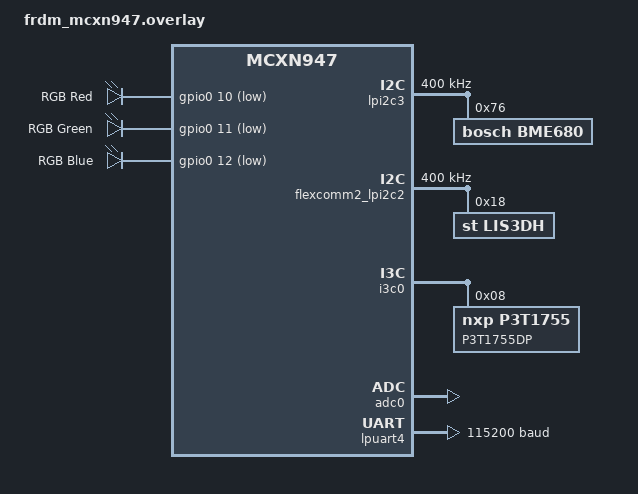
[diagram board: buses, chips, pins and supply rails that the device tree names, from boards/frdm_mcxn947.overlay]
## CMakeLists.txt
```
cmake_minimum_required(VERSION 3.20.0)

find_package(Zephyr REQUIRED HINTS $ENV{ZEPHYR_BASE})
project(frdm_env_monitor VERSION 1.0.0)

# ── Fuentes principales ────────────────────────────────────────────────────────
target_sources(app PRIVATE
    src/main.c
    src/task_bme680.c
    src/task_lis3dh.c
    src/task_p3t1755.c
    src/task_reporter.c
    src/task_alert.c
    src/task_touch.c
    src/sensor_data.c
)

# ── Includes ──────────────────────────────────────────────────────────────────
target_include_directories(app PRIVATE include)
```

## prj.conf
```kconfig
# =============================================================================
#  frdm_env_monitor — prj.conf
#  NXP FRDM-MCXN947  |  Zephyr RTOS 4.4.x
# =============================================================================

# ── Kernel ────────────────────────────────────────────────────────────────────
CONFIG_MAIN_STACK_SIZE=2048
CONFIG_SYSTEM_WORKQUEUE_STACK_SIZE=2048
CONFIG_HEAP_MEM_POOL_SIZE=8192

# ── Multithreading ────────────────────────────────────────────────────────────
CONFIG_MULTITHREADING=y

# ── Logging / consola UART ────────────────────────────────────────────────────
CONFIG_LOG=y
CONFIG_LOG_DEFAULT_LEVEL=3
CONFIG_UART_CONSOLE=y
CONFIG_SERIAL=y
CONFIG_PRINTK=y
CONFIG_CBPRINTF_FP_SUPPORT=y

# ── I2C (BME680 en FC3, LIS3DH en FC2) ───────────────────────────────────────
CONFIG_I2C=y

# ── I3C (P3T1755DP embebido) ──────────────────────────────────────────────────
CONFIG_I3C=y

# ── Drivers de sensor ─────────────────────────────────────────────────────────
CONFIG_SENSOR=y
CONFIG_BME680=y
# LIS3DH usa el driver genérico ST LIS2DH (cubre toda la familia)
CONFIG_LIS2DH=y

# ── GPIO (LED RGB) ────────────────────────────────────────────────────────────
CONFIG_GPIO=y

# ── Input / Touch slider (TSI0) ───────────────────────────────────────────────
CONFIG_INPUT=y
```

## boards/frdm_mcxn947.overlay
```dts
/*
 * frdm_mcxn947.overlay
 * Configuración de hardware para el proyecto frdm_env_monitor
 * Board: NXP FRDM-MCXN947
 */

/ {
    chosen {
        zephyr,console    = &lpuart4;
        zephyr,shell-uart = &lpuart4;
    };

    /*
     * Aliases para que el código C acceda a los periféricos
     * con nombres independientes del hardware concreto.
     */
    aliases {
        led-red   = &rgb_red;
        led-green = &rgb_green;
        led-blue  = &rgb_blue;
        accel     = &lis3dh;
        env-sensor= &bme680;
        ref-temp  = &p3t1755;
        touch-adc = &adc0;
    };

    /* ── RGB LED ─────────────────────────────────────────────────────────── */
    leds {
        compatible = "gpio-leds";

        rgb_red: led_red {
            gpios = <&gpio0 10 GPIO_ACTIVE_LOW>;
            label = "RGB Red";
        };
        rgb_green: led_green {
            gpios = <&gpio0 11 GPIO_ACTIVE_LOW>;
            label = "RGB Green";
        };
        rgb_blue: led_blue {
            gpios = <&gpio0 12 GPIO_ACTIVE_LOW>;
            label = "RGB Blue";
        };
    };
};

/* ── I2C3 — BME680 ────────────────────────────────────────────────────────── */
&lpi2c3 {
    status = "okay";
    clock-frequency = <I2C_BITRATE_FAST>;   /* 400 kHz */

    bme680: bme680@76 {
        compatible = "bosch,bme680";
        reg = <0x76>;                        /* SDO = GND → 0x76 */
        label = "BME680";
    };
};

/* ── Pinmux para Flexcomm2 como I2C (P4_0 = SDA, P4_1 = SCL) ────────────
 *
 * El MCXN947 tiene un sistema de pinmux: cada pin físico puede cumplir
 * varias funciones (GPIO, I2C, SPI, UART...). Aquí le decimos que P4_0
 * y P4_1 deben actuar como SDA/SCL del Flexcomm2.
 *
 * bias-pull-up      → resistencias pull-up internas (necesarias en I2C)
 * drive-open-drain  → I2C requiere salida open-drain por protocolo
 * input-enable      → el pin también recibe datos (bidireccional)
 * slew-rate = fast  → transiciones rápidas para 400 kHz
 */
&pinctrl {
    pinmux_flexcomm2_lpi2c: pinmux_flexcomm2_lpi2c {
        group0 {
            pinmux = <FC2_P0_PIO4_0>,   /* SDA → P4_0 */
                     <FC2_P1_PIO4_1>;   /* SCL → P4_1 */
            slew-rate = "fast";
            drive-strength = "low";
            input-enable;
            bias-pull-up;
            drive-open-drain;
        };
    };
};

/* ── I2C2 (Flexcomm2) — LIS3DH ───────────────────────────────────────────
 *
 * flexcomm2_lpi2c2 es el nombre del nodo I2C en el devicetree base de
 * Zephyr para la FRDM-MCXN947. Cada Flexcomm puede ser I2C, SPI o UART
 * — aquí lo configuramos como I2C.
 *
 * El LIS3DH en modo I2C tiene dirección 0x18 cuando SDO está en GND.
 * CS debe estar en VCC para habilitar el modo I2C (ver conexionado).
 */
&flexcomm2_lpi2c2 {
    status = "okay";
    pinctrl-0 = <&pinmux_flexcomm2_lpi2c>;
    pinctrl-names = "default";
    clock-frequency = <I2C_BITRATE_FAST>;   /* 400 kHz */

    lis3dh: lis3dh@18 {
        compatible = "st,lis3dh";
        reg = <0x18>;                        /* SDO = GND → 0x18 */
        label = "LIS3DH";
    };
};

/* ── I3C0 — P3T1755DP (sensor embebido en la tarjeta) ───────────────────── */
&i3c0 {
    status = "okay";
    /* Dirección I3C dinámica asignada durante DAA */
    p3t1755: p3t1755@08 {
        compatible = "nxp,p3t1755";
        reg = <0x08 0x00 0x00>;
        label = "P3T1755DP";
    };
};

/* ── ADC0 — Touch slider (lectura capacitiva) ────────────────────────────── */
&adc0 {
    status = "okay";
    #io-channel-cells = <1>;
};

/* ── LPUART4 — Consola / reporte de datos ───────────────────────────────── */
&lpuart4 {
    status = "okay";
    current-speed = <115200>;
};
```

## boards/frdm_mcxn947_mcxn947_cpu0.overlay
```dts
/*
 * frdm_mcxn947.overlay
 * Configuración de hardware para frdm_env_monitor
 * Board: NXP FRDM-MCXN947  |  Zephyr 4.4.x
 *
 * Basado en el DTS base real de la tarjeta (frdm_mcxn947.dtsi):
 *  - LEDs: gpio-leds, nodos red_led/green_led/blue_led, status disabled por defecto
 *  - Flexcomm2: pinmux ya definido como pinmux_flexcomm2_lpi2c
 *  - Flexcomm3: pinmux ya definido como pinmux_flexcomm3_lpi2c
 *  - Touch slider: tsi0 (no ADC)
 *  - ADC: lpadc0
 */

/* ── Habilitar LEDs RGB (están disabled en el DTS base) ─────────────────── */
&red_led {
    status = "okay";
};

&green_led {
    status = "okay";
};

&blue_led {
    status = "okay";
};

/* ── I2C3 (Flexcomm3) — BME680 ───────────────────────────────────────────
 * Pinmux ya definido en DTS base (pinmux_flexcomm3_lpi2c).
 * Pines: P3_2=SCL, P3_3=SDA (header Arduino A5/A4).
 * SDO del BME680 a GND → dirección 0x76.
 */
&flexcomm3_lpi2c3 {
    status = "okay";
    clock-frequency = <I2C_BITRATE_FAST>;

    bme680: bme680@77 {
        compatible = "bosch,bme680";
        reg = <0x77>;
    };
};

/* ── I2C2 (Flexcomm2) — LIS3DH ──────────────────────────────────────────
 * Pinmux ya definido en DTS base (pinmux_flexcomm2_lpi2c).
 * Pines: P4_0=SDA, P4_1=SCL.
 * SDO del LIS3DH a GND → dirección 0x18.
 * CS del LIS3DH a VCC  → fuerza modo I2C (obligatorio).
 */
&flexcomm2_lpi2c2 {
    status = "okay";
    clock-frequency = <I2C_BITRATE_FAST>;

    lis3dh: lis3dh@18 {
        compatible = "st,lis2dh";
        reg = <0x18>;
    };
};

/* ── I3C1 — P3T1755DP (sensor de temperatura embebido en la tarjeta) ─────
 * La tarjeta usa i3c1 con pinmux_i3c1 ya definido en el DTS base.
 */
&i3c1 {
    status = "okay";

    p3t1755: p3t1755@8 {
        compatible = "nxp,p3t1755";
        reg = <0x8 0x0 0x0>;
    };
};

/* ── TSI0 — Touch slider ─────────────────────────────────────────────────
 * El touch slider usa el periférico TSI (Touch Sensing Input).
 * Ya está configurado en el DTS base con pinmux_tsi.
 * Solo lo habilitamos.
 */
&tsi0 {
    status = "okay";
};

/* ── LPUART4 — Consola (ya configurada en DTS base) ─────────────────────
 * El DTS base cpu0 ya apunta la consola a flexcomm4_lpuart4.
 */
&flexcomm4_lpuart4 {
    status = "okay";
    current-speed = <115200>;
};
```

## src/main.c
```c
/*
 * main.c
 * Punto de entrada. Inicializa periféricos y arranca las 6 tareas.
 * El sistema continúa aunque algún sensor no esté disponible.
 *
 * Proyecto : frdm_env_monitor
 * Board    : NXP FRDM-MCXN947
 * RTOS     : Zephyr
 */

#include <zephyr/kernel.h>
#include <zephyr/device.h>
#include <zephyr/drivers/sensor.h>
#include <zephyr/logging/log.h>

#include "sensor_data.h"

LOG_MODULE_REGISTER(main, LOG_LEVEL_INF);

extern void task_bme680_entry(void *p1, void *p2, void *p3);
extern void task_lis3dh_entry(void *p1, void *p2, void *p3);
extern void task_p3t1755_entry(void *p1, void *p2, void *p3);
extern void task_reporter_entry(void *p1, void *p2, void *p3);
extern void task_alert_entry(void *p1, void *p2, void *p3);
extern void task_touch_entry(void *p1, void *p2, void *p3);

K_THREAD_STACK_DEFINE(stack_bme680,   STACK_BME680);
K_THREAD_STACK_DEFINE(stack_lis3dh,   STACK_LIS3DH);
K_THREAD_STACK_DEFINE(stack_p3t1755,  STACK_P3T1755);
K_THREAD_STACK_DEFINE(stack_reporter, STACK_REPORTER);
K_THREAD_STACK_DEFINE(stack_alert,    STACK_ALERT);
K_THREAD_STACK_DEFINE(stack_touch,    STACK_TOUCH);

static struct k_thread tcb_bme680;
static struct k_thread tcb_lis3dh;
static struct k_thread tcb_p3t1755;
static struct k_thread tcb_reporter;
static struct k_thread tcb_alert;
static struct k_thread tcb_touch;

#define NODE_BME680   DT_NODELABEL(bme680)
#define NODE_LIS3DH   DT_NODELABEL(lis3dh)
#define NODE_P3T1755  DT_NODELABEL(p3t1755)

static bool device_check(const struct device *dev, const char *name)
{
    if (!device_is_ready(dev)) {
        LOG_WRN("No disponible: %s", name);
        return false;
    }
    LOG_INF("OK: %s", name);
    return true;
}

int main(void)
{
    LOG_INF("=================================================");
    LOG_INF(" FRDM-MCXN947  Environmental & Motion Monitor  ");
    LOG_INF(" Zephyr RTOS  |  Grupo Intelecto                ");
    LOG_INF("=================================================");

    const struct device *bme680  = DEVICE_DT_GET(NODE_BME680);
    const struct device *lis3dh  = DEVICE_DT_GET(NODE_LIS3DH);
    const struct device *p3t1755 = DEVICE_DT_GET(NODE_P3T1755);

    bool bme_ok = device_check(bme680,  "BME680 (I2C)");
    bool lis_ok = device_check(lis3dh,  "LIS3DH (I2C)");
    bool p3t_ok = device_check(p3t1755, "P3T1755DP (I3C)");

    if (!bme_ok && !lis_ok && !p3t_ok) {
        LOG_ERR("Sin sensores disponibles — sistema detenido.");
        return -1;
    }

    LOG_INF("Iniciando tareas...");

    /* Tarea BME680 — solo si el sensor está disponible */
    if (bme_ok) {
        k_thread_create(&tcb_bme680, stack_bme680,
                        K_THREAD_STACK_SIZEOF(stack_bme680),
                        task_bme680_entry,
                        (void *)bme680, NULL, NULL,
                        PRIO_BME680, 0, K_NO_WAIT);
        k_thread_name_set(&tcb_bme680, "bme680");
    }

    /* Tarea LIS3DH — solo si el sensor está disponible */
    if (lis_ok) {
        k_thread_create(&tcb_lis3dh, stack_lis3dh,
                        K_THREAD_STACK_SIZEOF(stack_lis3dh),
                        task_lis3dh_entry,
                        (void *)lis3dh, NULL, NULL,
                        PRIO_LIS3DH, 0, K_NO_WAIT);
        k_thread_name_set(&tcb_lis3dh, "lis3dh");
    }

    /* Tarea P3T1755 — solo si el sensor está disponible */
    if (p3t_ok) {
        k_thread_create(&tcb_p3t1755, stack_p3t1755,
                        K_THREAD_STACK_SIZEOF(stack_p3t1755),
                        task_p3t1755_entry,
                        (void *)p3t1755, NULL, NULL,
                        PRIO_P3T1755, 0, K_NO_WAIT);
        k_thread_name_set(&tcb_p3t1755, "p3t1755");
    }

    /* Estas tareas siempre corren */
    k_thread_create(&tcb_reporter, stack_reporter,
                    K_THREAD_STACK_SIZEOF(stack_reporter),
                    task_reporter_entry,
                    NULL, NULL, NULL,
                    PRIO_REPORTER, 0, K_NO_WAIT);
    k_thread_name_set(&tcb_reporter, "reporter");

    k_thread_create(&tcb_alert, stack_alert,
                    K_THREAD_STACK_SIZEOF(stack_alert),
                    task_alert_entry,
                    NULL, NULL, NULL,
                    PRIO_ALERT, 0, K_NO_WAIT);
    k_thread_name_set(&tcb_alert, "alert");

    k_thread_create(&tcb_touch, stack_touch,
                    K_THREAD_STACK_SIZEOF(stack_touch),
                    task_touch_entry,
                    NULL, NULL, NULL,
                    PRIO_TOUCH, 0, K_NO_WAIT);
    k_thread_name_set(&tcb_touch, "touch");

    LOG_INF("Tareas iniciadas. Sistema corriendo.");
    return 0;
}
```

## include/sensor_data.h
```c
/*
 * sensor_data.h
 * Tipos de datos compartidos entre tareas y colas de mensajes.
 *
 * Proyecto : frdm_env_monitor
 * Board    : NXP FRDM-MCXN947
 * RTOS     : Zephyr
 */

#ifndef SENSOR_DATA_H
#define SENSOR_DATA_H

#include <zephyr/kernel.h>
#include <stdint.h>
#include <stdbool.h>

/* ── Constantes de configuración ─────────────────────────────────────────── */

/* Períodos de muestreo de cada tarea (ms) */
#define BME680_PERIOD_MS       2000U
#define LIS3DH_PERIOD_MS        100U   /* 10 Hz */
#define P3T1755_PERIOD_MS      1000U
#define REPORTER_PERIOD_MS     2000U
#define ALERT_PERIOD_MS         500U
#define TOUCH_PERIOD_MS         200U

/* Tamaños de stack por tarea */
#define STACK_BME680           1536U
#define STACK_LIS3DH           1024U
#define STACK_P3T1755          1024U
#define STACK_REPORTER         2048U
#define STACK_ALERT            1024U
#define STACK_TOUCH             768U

/* Prioridades (menor número = mayor prioridad en Zephyr) */
#define PRIO_BME680               5
#define PRIO_LIS3DH               4   /* mayor prioridad: 10 Hz */
#define PRIO_P3T1755              6
#define PRIO_REPORTER             7
#define PRIO_ALERT                3   /* mayor prioridad: seguridad */
#define PRIO_TOUCH                8

/* Profundidad de las colas de mensajes */
#define QUEUE_DEPTH               4

/* ── Umbrales de alerta ───────────────────────────────────────────────────── */
#define ALERT_TEMP_HIGH_C      40.0f   /* °C  */
#define ALERT_TEMP_LOW_C        5.0f   /* °C  */
#define ALERT_HUMIDITY_HIGH    85.0f   /* %RH */
#define ALERT_IAQ_BAD         200.0f   /* IAQ index */
#define ALERT_ACCEL_G          2.0f    /* g   */

/* ── Modos de visualización (touch slider) ───────────────────────────────── */
typedef enum {
    DISPLAY_MODE_TEMP = 0,   /* Muestra temperatura  */
    DISPLAY_MODE_HUMIDITY,   /* Muestra humedad      */
    DISPLAY_MODE_PRESSURE,   /* Muestra presión      */
    DISPLAY_MODE_ACCEL,      /* Muestra aceleración  */
    DISPLAY_MODE_IAQ,        /* Muestra calidad aire */
    DISPLAY_MODE_COUNT
} display_mode_t;

/* ── Datos del BME680 ─────────────────────────────────────────────────────── */
typedef struct {
    float    temperature;   /* °C        */
    float    humidity;      /* %RH       */
    float    pressure;      /* hPa       */
    float    iaq;           /* IAQ index */
    uint32_t timestamp_ms;
    bool     valid;
} bme680_data_t;

/* ── Datos del LIS3DH ─────────────────────────────────────────────────────── */
typedef struct {
    float    accel_x;       /* g */
    float    accel_y;       /* g */
    float    accel_z;       /* g */
    float    magnitude;     /* g */
    uint32_t timestamp_ms;
    bool     valid;
} lis3dh_data_t;

/* ── Datos del P3T1755DP ──────────────────────────────────────────────────── */
typedef struct {
    float    temperature;   /* °C */
    uint32_t timestamp_ms;
    bool     valid;
} p3t1755_data_t;

/* ── Estado de alertas ────────────────────────────────────────────────────── */
typedef struct {
    bool temp_high;
    bool temp_low;
    bool humidity_high;
    bool iaq_bad;
    bool motion_detected;
    bool any_active;
} alert_status_t;

/* ── Payload del reporter (mensaje en cola) ──────────────────────────────── */
typedef struct {
    bme680_data_t  env;
    lis3dh_data_t  motion;
    p3t1755_data_t ref_temp;
    alert_status_t alerts;
    display_mode_t mode;
} report_payload_t;

/* ── Variables globales compartidas (definidas en sensor_data.c) ─────────── */
extern struct k_mutex      g_data_mutex;
extern bme680_data_t       g_bme680;
extern lis3dh_data_t       g_lis3dh;
extern p3t1755_data_t      g_p3t1755;
extern alert_status_t      g_alerts;
extern display_mode_t      g_display_mode;

/* Cola hacia la tarea reporter */
extern struct k_msgq       g_report_queue;

/* Semáforo: notifica a alert task cuando hay nuevos datos */
extern struct k_sem        g_data_ready_sem;

#endif /* SENSOR_DATA_H */
```

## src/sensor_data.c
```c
/*
 * sensor_data.c
 * Definición de variables globales, mutex, colas y semáforos compartidos
 * entre todas las tareas del sistema.
 *
 * Proyecto : frdm_env_monitor
 * Board    : NXP FRDM-MCXN947
 * RTOS     : Zephyr
 */

#include "sensor_data.h"
#include <zephyr/kernel.h>
#include <string.h>

/* ── Mutex de acceso a datos compartidos ─────────────────────────────────── */
K_MUTEX_DEFINE(g_data_mutex);

/* ── Estado global de cada sensor ────────────────────────────────────────── */
bme680_data_t  g_bme680   = { .valid = false };
lis3dh_data_t  g_lis3dh   = { .valid = false };
p3t1755_data_t g_p3t1755  = { .valid = false };

/* ── Estado global de alertas y modo de display ──────────────────────────── */
alert_status_t g_alerts       = { 0 };
display_mode_t g_display_mode = DISPLAY_MODE_TEMP;

/* ── Cola de mensajes hacia el reporter ─────────────────────────────────── */
K_MSGQ_DEFINE(g_report_queue, sizeof(report_payload_t), QUEUE_DEPTH, 4);

/* ── Semáforo: señaliza que hay datos nuevos listos para evaluar alertas ─── */
K_SEM_DEFINE(g_data_ready_sem, 0, 1);
```

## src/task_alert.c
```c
/*
 * task_alert.c
 * Tarea de evaluación de alertas y control del LED RGB.
 *
 * Los LEDs en la FRDM-MCXN947 son GPIO activo bajo (GPIO_ACTIVE_LOW):
 *   gpio_pin_set_dt(&led, 1) → LED encendido
 *   gpio_pin_set_dt(&led, 0) → LED apagado
 *
 * Nodos del DTS base: red_led (gpio0.10), green_led (gpio0.27), blue_led (gpio1.2)
 *
 * Colores de alerta:
 *   Verde        — nominal
 *   Amarillo R+G — IAQ malo o humedad alta
 *   Rojo         — temperatura fuera de rango
 *   Azul blink   — movimiento/vibración
 *   Magenta R+B  — múltiples alertas
 *
 * Proyecto : frdm_env_monitor
 * Board    : NXP FRDM-MCXN947
 * RTOS     : Zephyr
 */

#include <zephyr/kernel.h>
#include <zephyr/device.h>
#include <zephyr/drivers/gpio.h>
#include <zephyr/logging/log.h>

#include "sensor_data.h"

LOG_MODULE_REGISTER(task_alert, LOG_LEVEL_INF);

/* ── Nodos GPIO del LED RGB ──────────────────────────────────────────────
 * DT_NODELABEL(red_led) apunta al nodo red_led definido en frdm_mcxn947.dtsi
 */
static const struct gpio_dt_spec led_r =
    GPIO_DT_SPEC_GET(DT_NODELABEL(red_led),   gpios);
static const struct gpio_dt_spec led_g =
    GPIO_DT_SPEC_GET(DT_NODELABEL(green_led), gpios);
static const struct gpio_dt_spec led_b =
    GPIO_DT_SPEC_GET(DT_NODELABEL(blue_led),  gpios);

typedef enum {
    LED_GREEN = 0,
    LED_YELLOW,
    LED_RED,
    LED_BLUE_BLINK,
    LED_MAGENTA,
} led_state_t;

static void led_set(led_state_t state, bool blink_phase)
{
    int r = 0, g = 0, b = 0;

    switch (state) {
    case LED_GREEN:       g = 1; break;
    case LED_YELLOW:      r = 1; g = 1; break;
    case LED_RED:         r = 1; break;
    case LED_BLUE_BLINK:  b = blink_phase ? 1 : 0; break;
    case LED_MAGENTA:     r = 1; b = 1; break;
    }

    gpio_pin_set_dt(&led_r, r);
    gpio_pin_set_dt(&led_g, g);
    gpio_pin_set_dt(&led_b, b);
}

static int led_init(void)
{
    if (!gpio_is_ready_dt(&led_r) ||
        !gpio_is_ready_dt(&led_g) ||
        !gpio_is_ready_dt(&led_b)) {
        LOG_ERR("GPIO LED no listo");
        return -ENODEV;
    }
    gpio_pin_configure_dt(&led_r, GPIO_OUTPUT_INACTIVE);
    gpio_pin_configure_dt(&led_g, GPIO_OUTPUT_INACTIVE);
    gpio_pin_configure_dt(&led_b, GPIO_OUTPUT_INACTIVE);
    return 0;
}

static alert_status_t evaluate_alerts(const bme680_data_t *env,
                                      const lis3dh_data_t *mot)
{
    alert_status_t alr = { 0 };

    if (env->valid) {
        alr.temp_high     = (env->temperature > ALERT_TEMP_HIGH_C);
        alr.temp_low      = (env->temperature < ALERT_TEMP_LOW_C);
        alr.humidity_high = (env->humidity    > ALERT_HUMIDITY_HIGH);
        alr.iaq_bad       = (env->iaq         > ALERT_IAQ_BAD);
    }
    if (mot->valid) {
        alr.motion_detected = (mot->magnitude > ALERT_ACCEL_G + 1.0f);
    }
    alr.any_active = alr.temp_high || alr.temp_low || alr.humidity_high ||
                     alr.iaq_bad   || alr.motion_detected;
    return alr;
}

static led_state_t select_led_state(const alert_status_t *alr)
{
    if (!alr->any_active)                                          return LED_GREEN;
    if (alr->motion_detected && !alr->temp_high && !alr->temp_low) return LED_BLUE_BLINK;
    if (alr->temp_high || alr->temp_low) {
        if (alr->iaq_bad || alr->motion_detected)                  return LED_MAGENTA;
        return LED_RED;
    }
    if (alr->iaq_bad || alr->humidity_high)                        return LED_YELLOW;
    return LED_GREEN;
}

void task_alert_entry(void *p1, void *p2, void *p3)
{
    ARG_UNUSED(p1); ARG_UNUSED(p2); ARG_UNUSED(p3);

    if (led_init() != 0) {
        LOG_ERR("Fallo al inicializar LED RGB.");
        return;
    }

    LOG_INF("Tarea Alertas iniciada. Período: %u ms", ALERT_PERIOD_MS);

    bme680_data_t env;
    lis3dh_data_t mot;
    bool blink_phase = false;

    while (1) {
        k_sem_take(&g_data_ready_sem, K_MSEC(ALERT_PERIOD_MS));

        k_mutex_lock(&g_data_mutex, K_FOREVER);
        env = g_bme680;
        mot = g_lis3dh;
        k_mutex_unlock(&g_data_mutex);

        alert_status_t alr = evaluate_alerts(&env, &mot);

        k_mutex_lock(&g_data_mutex, K_FOREVER);
        g_alerts = alr;
        k_mutex_unlock(&g_data_mutex);

        blink_phase = !blink_phase;
        led_set(select_led_state(&alr), blink_phase);

        if (alr.any_active) {
            LOG_WRN("ALERTA: %s%s%s%s%s",
                alr.temp_high       ? "TEMP_ALTA "  : "",
                alr.temp_low        ? "TEMP_BAJA "  : "",
                alr.humidity_high   ? "HUMEDAD "    : "",
                alr.iaq_bad         ? "AIRE_MALO "  : "",
                alr.motion_detected ? "MOVIMIENTO " : "");
        }
    }
}
```

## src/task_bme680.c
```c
/*
 * task_bme680.c
 * Tarea de adquisición del sensor ambiental BME680 (I2C).
 * Lee temperatura, humedad, presión y gas (IAQ aproximado)
 * cada BME680_PERIOD_MS milisegundos.
 *
 * Proyecto : frdm_env_monitor
 * Board    : NXP FRDM-MCXN947
 * RTOS     : Zephyr
 */

#include <zephyr/kernel.h>
#include <zephyr/device.h>
#include <zephyr/drivers/sensor.h>
#include <zephyr/logging/log.h>
#include <math.h>

#include "sensor_data.h"

LOG_MODULE_REGISTER(task_bme680, LOG_LEVEL_DBG);

/* ── Conversión resistencia de gas → IAQ (aproximación simple) ─────────────
 * El driver Zephyr de BME680 no implementa el algoritmo BSEC de Bosch.
 * Usamos una conversión logarítmica normalizada:
 *   IAQ = 500 * (1 - log10(R_gas) / log10(R_max))
 * donde R_max ≈ 500 kΩ (aire limpio seco)                                   */
#define GAS_REFERENCE_OHM   500000.0f

static float gas_resistance_to_iaq(float gas_ohm)
{
    if (gas_ohm <= 0.0f) {
        return 500.0f; /* valor de error: muy malo */
    }
    float ratio = gas_ohm / GAS_REFERENCE_OHM;
    /* IAQ 0 = excelente, 500 = peligroso */
    float iaq = 500.0f * (1.0f - (logf(gas_ohm) / logf(GAS_REFERENCE_OHM)));
    if (iaq < 0.0f)   iaq = 0.0f;
    if (iaq > 500.0f) iaq = 500.0f;
    (void)ratio;
    return iaq;
}

/* ── Entrada de tarea ─────────────────────────────────────────────────────── */
void task_bme680_entry(void *p1, void *p2, void *p3)
{
    ARG_UNUSED(p2);
    ARG_UNUSED(p3);

    const struct device *dev = (const struct device *)p1;
    struct sensor_value  temp, hum, press, gas;
    bme680_data_t local = { 0 };

    LOG_INF("Tarea BME680 iniciada. Período: %u ms", BME680_PERIOD_MS);

    while (1) {
        /* Trigger de medición */
        int rc = sensor_sample_fetch(dev);
        if (rc != 0) {
            LOG_ERR("sensor_sample_fetch BME680: %d", rc);
            k_sleep(K_MSEC(BME680_PERIOD_MS));
            continue;
        }

        sensor_channel_get(dev, SENSOR_CHAN_AMBIENT_TEMP, &temp);
        sensor_channel_get(dev, SENSOR_CHAN_HUMIDITY,     &hum);
        sensor_channel_get(dev, SENSOR_CHAN_PRESS,        &press);
        sensor_channel_get(dev, SENSOR_CHAN_GAS_RES,      &gas);

        /* Convertir sensor_value → float */
        local.temperature  = sensor_value_to_double(&temp);
        local.humidity     = sensor_value_to_double(&hum);
        local.pressure     = sensor_value_to_double(&press) / 1000.0f; /* Pa → hPa */
        local.iaq          = gas_resistance_to_iaq(sensor_value_to_double(&gas));
        local.timestamp_ms = k_uptime_get_32();
        local.valid        = true;

        LOG_DBG("BME680 | T=%.2f°C  HR=%.1f%%  P=%.1fhPa  IAQ=%.0f",
                (double)local.temperature,
                (double)local.humidity,
                (double)local.pressure,
                (double)local.iaq);

        /* Actualizar variable global protegida por mutex */
        k_mutex_lock(&g_data_mutex, K_FOREVER);
        g_bme680 = local;
        k_mutex_unlock(&g_data_mutex);

        /* Notificar a la tarea de alertas */
        k_sem_give(&g_data_ready_sem);

        k_sleep(K_MSEC(BME680_PERIOD_MS));
    }
}
```

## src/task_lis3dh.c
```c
/*
 * task_lis3dh.c
 * Tarea de adquisición del acelerómetro LIS3DH (SPI).
 * Lee aceleración en X, Y, Z a 10 Hz (100 ms).
 * Calcula la magnitud del vector y detecta eventos de movimiento/vibración.
 *
 * Proyecto : frdm_env_monitor
 * Board    : NXP FRDM-MCXN947
 * RTOS     : Zephyr
 */

#include <zephyr/kernel.h>
#include <zephyr/device.h>
#include <zephyr/drivers/sensor.h>
#include <zephyr/logging/log.h>
#include <math.h>

#include "sensor_data.h"

LOG_MODULE_REGISTER(task_lis3dh, LOG_LEVEL_DBG);

/* Umbral de magnitud para considerar "en reposo" (1g ± margen) */
#define REST_MAG_MIN   0.85f
#define REST_MAG_MAX   1.15f

void task_lis3dh_entry(void *p1, void *p2, void *p3)
{
    ARG_UNUSED(p2);
    ARG_UNUSED(p3);

    const struct device *dev = (const struct device *)p1;
    struct sensor_value  ax, ay, az;
    lis3dh_data_t local  = { 0 };

    LOG_INF("Tarea LIS3DH iniciada. Período: %u ms", LIS3DH_PERIOD_MS);

    while (1) {
        int rc = sensor_sample_fetch(dev);
        if (rc != 0) {
            LOG_ERR("sensor_sample_fetch LIS3DH: %d", rc);
            k_sleep(K_MSEC(LIS3DH_PERIOD_MS));
            continue;
        }

        sensor_channel_get(dev, SENSOR_CHAN_ACCEL_X, &ax);
        sensor_channel_get(dev, SENSOR_CHAN_ACCEL_Y, &ay);
        sensor_channel_get(dev, SENSOR_CHAN_ACCEL_Z, &az);

        /* m/s² → g  (dividir entre 9.80665) */
        local.accel_x = sensor_value_to_double(&ax) / 9.80665f;
        local.accel_y = sensor_value_to_double(&ay) / 9.80665f;
        local.accel_z = sensor_value_to_double(&az) / 9.80665f;

        local.magnitude    = sqrtf(local.accel_x * local.accel_x +
                                   local.accel_y * local.accel_y +
                                   local.accel_z * local.accel_z);
        local.timestamp_ms = k_uptime_get_32();
        local.valid        = true;

        LOG_DBG("LIS3DH | X=%.3fg  Y=%.3fg  Z=%.3fg  |M|=%.3fg",
                (double)local.accel_x,
                (double)local.accel_y,
                (double)local.accel_z,
                (double)local.magnitude);

        k_mutex_lock(&g_data_mutex, K_FOREVER);
        g_lis3dh = local;
        k_mutex_unlock(&g_data_mutex);

        k_sleep(K_MSEC(LIS3DH_PERIOD_MS));
    }
}
```

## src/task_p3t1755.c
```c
/*
 * task_p3t1755.c
 * Tarea de adquisición del sensor de temperatura P3T1755DP por I3C.
 * El P3T1755DP es el sensor de temperatura digital embebido en la tarjeta
 * FRDM-MCXN947. Se conecta a través del bus I3C0.
 *
 * Resolución: 11 bits → 0.125 °C/LSB
 * Rango: -55 °C … +125 °C
 *
 * Proyecto : frdm_env_monitor
 * Board    : NXP FRDM-MCXN947
 * RTOS     : Zephyr
 */

#include <zephyr/kernel.h>
#include <zephyr/device.h>
#include <zephyr/drivers/sensor.h>
#include <zephyr/logging/log.h>

#include "sensor_data.h"

LOG_MODULE_REGISTER(task_p3t1755, LOG_LEVEL_DBG);

void task_p3t1755_entry(void *p1, void *p2, void *p3)
{
    ARG_UNUSED(p2);
    ARG_UNUSED(p3);

    const struct device *dev = (const struct device *)p1;
    struct sensor_value  temp;
    p3t1755_data_t local = { 0 };

    LOG_INF("Tarea P3T1755DP iniciada. Período: %u ms", P3T1755_PERIOD_MS);

    while (1) {
        int rc = sensor_sample_fetch(dev);
        if (rc != 0) {
            LOG_ERR("sensor_sample_fetch P3T1755: %d", rc);
            k_sleep(K_MSEC(P3T1755_PERIOD_MS));
            continue;
        }

        sensor_channel_get(dev, SENSOR_CHAN_AMBIENT_TEMP, &temp);

        local.temperature  = sensor_value_to_double(&temp);
        local.timestamp_ms = k_uptime_get_32();
        local.valid        = true;

        LOG_DBG("P3T1755 | T_ref=%.3f°C", (double)local.temperature);

        k_mutex_lock(&g_data_mutex, K_FOREVER);
        g_p3t1755 = local;
        k_mutex_unlock(&g_data_mutex);

        k_sleep(K_MSEC(P3T1755_PERIOD_MS));
    }
}
```

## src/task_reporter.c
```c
/*
 * task_reporter.c
 * Tarea de reporte de datos por UART.
 * Cada REPORTER_PERIOD_MS publica un bloque de texto con todos los valores
 * de sensor, el estado de alertas y el modo de display activo.
 * El formato es legible para un terminal (115200, 8N1) y también parseable
 * por un script Python de logging.
 *
 * Proyecto : frdm_env_monitor
 * Board    : NXP FRDM-MCXN947
 * RTOS     : Zephyr
 */

#include <zephyr/kernel.h>
#include <zephyr/logging/log.h>
#include <stdio.h>
#include <string.h>

#include "sensor_data.h"

LOG_MODULE_REGISTER(task_reporter, LOG_LEVEL_INF);

/* Nombres de modos de display para el reporte */
static const char *const mode_names[DISPLAY_MODE_COUNT] = {
    [DISPLAY_MODE_TEMP]     = "TEMPERATURA",
    [DISPLAY_MODE_HUMIDITY] = "HUMEDAD",
    [DISPLAY_MODE_PRESSURE] = "PRESION",
    [DISPLAY_MODE_ACCEL]    = "ACELERACION",
    [DISPLAY_MODE_IAQ]      = "CALIDAD_AIRE",
};

/* Calificación IAQ */
static const char *iaq_label(float iaq)
{
    if (iaq < 50)  return "Excelente";
    if (iaq < 100) return "Buena";
    if (iaq < 150) return "Leve";
    if (iaq < 200) return "Moderada";
    if (iaq < 300) return "Mala";
    return "Peligrosa";
}

/* ── Entrada de tarea ─────────────────────────────────────────────────────── */
void task_reporter_entry(void *p1, void *p2, void *p3)
{
    ARG_UNUSED(p1);
    ARG_UNUSED(p2);
    ARG_UNUSED(p3);

    bme680_data_t   env;
    lis3dh_data_t   mot;
    p3t1755_data_t  ref;
    alert_status_t  alr;
    display_mode_t  mode;

    LOG_INF("Tarea Reporter iniciada. Período: %u ms", REPORTER_PERIOD_MS);

    while (1) {
        k_sleep(K_MSEC(REPORTER_PERIOD_MS));

        /* Captura atómica de todos los datos */
        k_mutex_lock(&g_data_mutex, K_FOREVER);
        env  = g_bme680;
        mot  = g_lis3dh;
        ref  = g_p3t1755;
        alr  = g_alerts;
        mode = g_display_mode;
        k_mutex_unlock(&g_data_mutex);

        uint32_t ts = k_uptime_get_32();

        /* ── Bloque de reporte ─────────────────────────────────────────── */
        printk("\n");
        printk("╔══════════════════════════════════════════════════╗\n");
        printk("║   ENV & MOTION MONITOR  |  t=%u ms         \n", ts);
        printk("╠══════════════════════════════════════════════════╣\n");

        /* Sensor BME680 */
        if (env.valid) {
            printk("║ [BME680]  Temperatura : %6.2f °C\n",
                   (double)env.temperature);
            printk("║           Humedad     : %6.1f %%RH\n",
                   (double)env.humidity);
            printk("║           Presión     : %7.1f hPa\n",
                   (double)env.pressure);
            printk("║           IAQ         : %5.0f  (%s)\n",
                   (double)env.iaq, iaq_label(env.iaq));
        } else {
            printk("║ [BME680]  Sin datos válidos\n");
        }

        printk("║\n");

        /* Sensor LIS3DH */
        if (mot.valid) {
            printk("║ [LIS3DH]  Accel X     : %+6.3f g\n",
                   (double)mot.accel_x);
            printk("║           Accel Y     : %+6.3f g\n",
                   (double)mot.accel_y);
            printk("║           Accel Z     : %+6.3f g\n",
                   (double)mot.accel_z);
            printk("║           Magnitud    : %6.3f g\n",
                   (double)mot.magnitude);
        } else {
            printk("║ [LIS3DH]  Sin datos válidos\n");
        }

        printk("║\n");

        /* Sensor P3T1755DP */
        if (ref.valid) {
            printk("║ [P3T1755] T_ref (I3C) : %6.3f °C\n",
                   (double)ref.temperature);
        } else {
            printk("║ [P3T1755] Sin datos válidos\n");
        }

        printk("║\n");

        /* Alertas activas */
        printk("║ [ALERTAS] ");
        if (!alr.any_active) {
            printk("Ninguna — sistema nominal\n");
        } else {
            if (alr.temp_high)       printk("TEMP_ALTA ");
            if (alr.temp_low)        printk("TEMP_BAJA ");
            if (alr.humidity_high)   printk("HUMEDAD_ALTA ");
            if (alr.iaq_bad)         printk("AIRE_MALO ");
            if (alr.motion_detected) printk("MOVIMIENTO ");
            printk("\n");
        }

        /* Modo de display activo */
        const char *mname = (mode < DISPLAY_MODE_COUNT) ? mode_names[mode] : "?";
        printk("║ [MODO]    %-20s\n", mname);

        printk("╚══════════════════════════════════════════════════╝\n");
    }
}
```

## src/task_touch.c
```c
/*
 * task_touch.c
 * Tarea de lectura del touch slider (TSI0) para alternar modos de display.
 *
 * La FRDM-MCXN947 tiene un touch slider conectado al periférico TSI0
 * (Touch Sensing Input). En Zephyr se accede mediante el subsistema
 * de input events — el driver tsi publica eventos INPUT_BTN_3 cuando
 * detecta un toque (configurado en el DTS base con channel-mask=0x08).
 *
 * Estrategia simplificada:
 *   - Usamos k_poll sobre un message queue de input para detectar toques.
 *   - Cada toque avanza el modo de display en orden circular.
 *   - Debounce de TOUCH_DEBOUNCE_MS entre cambios.
 *
 * Proyecto : frdm_env_monitor
 * Board    : NXP FRDM-MCXN947
 * RTOS     : Zephyr
 */

#include <zephyr/kernel.h>
#include <zephyr/input/input.h>
#include <zephyr/logging/log.h>

#include "sensor_data.h"

LOG_MODULE_REGISTER(task_touch, LOG_LEVEL_INF);

#define TOUCH_DEBOUNCE_MS   400U

/* Cola de eventos de input — el driver TSI publica aquí */
static struct input_event touch_evt;
K_MSGQ_DEFINE(touch_msgq, sizeof(struct input_event), 4, 4);

/* Callback registrado con el subsistema de input de Zephyr */
static void touch_cb(struct input_event *evt, void *user_data)
{
    ARG_UNUSED(user_data);
    /* Solo nos interesan eventos de botón (toque detectado) */
    if (evt->type == INPUT_EV_KEY) {
        k_msgq_put(&touch_msgq, evt, K_NO_WAIT);
    }
}
INPUT_CALLBACK_DEFINE(NULL, touch_cb, NULL);

static void mode_advance(void)
{
    k_mutex_lock(&g_data_mutex, K_FOREVER);
    g_display_mode = (display_mode_t)((g_display_mode + 1) % DISPLAY_MODE_COUNT);
    int m = g_display_mode;
    k_mutex_unlock(&g_data_mutex);
    LOG_INF("Modo display → %d", m);
}

void task_touch_entry(void *p1, void *p2, void *p3)
{
    ARG_UNUSED(p1); ARG_UNUSED(p2); ARG_UNUSED(p3);

    LOG_INF("Tarea Touch iniciada (TSI0).");

    uint32_t last_change_ms = 0;

    while (1) {
        /* Esperar evento de toque con timeout */
        int rc = k_msgq_get(&touch_msgq, &touch_evt, K_MSEC(TOUCH_PERIOD_MS));
        if (rc == 0 && touch_evt.value == 1) {
            /* Toque detectado — aplicar debounce */
            uint32_t now = k_uptime_get_32();
            if ((now - last_change_ms) >= TOUCH_DEBOUNCE_MS) {
                mode_advance();
                last_change_ms = now;
            }
        }
    }
}
```
